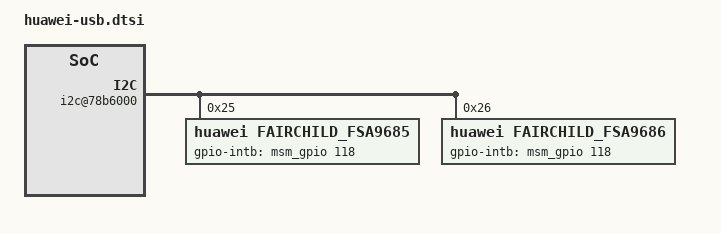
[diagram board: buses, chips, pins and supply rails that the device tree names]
/* < DTS2014122400303 yuanzhen 20141224 begin */
/{
	usbswitch: usbswitch {
		compatible = "huawei,usbswitch";
		gpio_switch_back = "-1";
		status = "ok";
	};
};
/* < DTS2015010700997 yuanzhen 20150107 begin */
&soc {
	i2c@78b6000{
		fairchild_fsa9685: fsa9685@25 {
			compatible = "huawei,fairchild_fsa9685";
			reg = <0x25>;
			fairchild_fsa9685,gpio-intb = <&msm_gpio 118 0>;
			status = "ok";
		};
	};
};
/* DTS2015010700997 yuanzhen 20150107 end > */
/* DTS2014122400303 yuanzhen 20141224 end > */

/* < DTS2015012703515 yuanzhen 20150127 begin */
&soc {
	i2c@78b6000{
		fairchild_fsa9686: fsa9686@26 {
			compatible = "huawei,fairchild_fsa9686";
			reg = <0x26>;
			fairchild_fsa9685,gpio-intb = <&msm_gpio 118 0>;
			status = "ok";
		};
	};
};
/* DTS2015012703515 yuanzhen 20150127 end > */

/* < DTS2014122907766 chenxi 20141229 begin */
&usb_otg {
	qcom,hsusb-otg-mode = <3>;
	vbus_otg-supply = <&bq24296_otg_supply>;
	/* < DTS2015081908926 zhangjian 20150820 begin  */
	qcom,hsusb-otg-phy-init-seq =
		<0x74 0x80 0x6D 0x81 0x35 0x82 0x33 0x83 0xffffffff>;
	qcom,hsusb-otg-phy-init-seq-host =
		<0x74 0x80 0x64 0x81 0x35 0x82 0x33 0x83 0xffffffff>;
	/* DTS2015081908926 zhangjian 20150820 end > */
};
/* DTS2014122907766 chenxi 20141229 end > */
